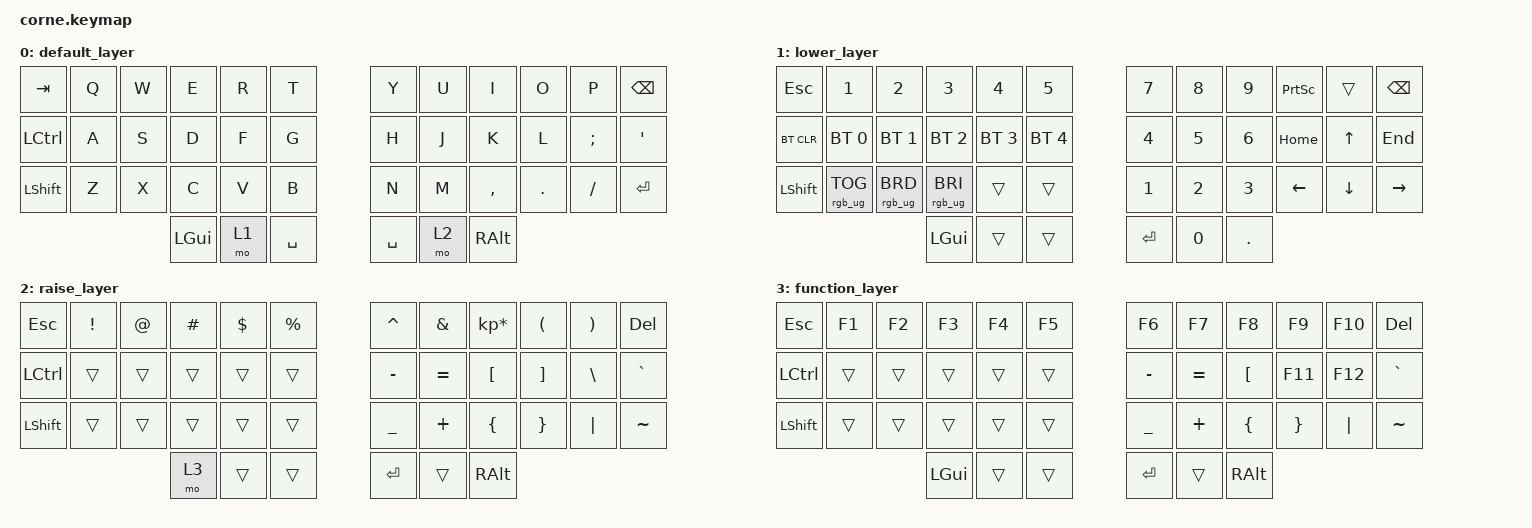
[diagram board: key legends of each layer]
/*
 * Copyright (c) 2020 The ZMK Contributors
 *
 * SPDX-License-Identifier: MIT
 */

#include <behaviors.dtsi>
#include <dt-bindings/zmk/keys.h>
#include <dt-bindings/zmk/bt.h>
#include <dt-bindings/zmk/rgb.h>

/*
 * Temporarily here because nice nano v2 spi is not defined on ZMk Yet
 * Source: https://github.com/zmkfirmware/zmk/blob/main/app/boards/shields/reviung41/boards/nice_nano.overlay
 * GitHub Issue: https://github.com/zmkfirmware/zmk/issues/885
 */

&spi1 {
   compatible = "nordic,nrf-spim";
   status = "okay";
   mosi-pin = <6>;
   // Unused pins, needed for SPI definition, but not used by the ws2812 driver itself.
   sck-pin = <5>;
   miso-pin = <7>;

   led_strip: ws2812@0 {
      compatible = "worldsemi,ws2812-spi";
      label = "WS2812";

      /* SPI */
      reg = <0>; /* ignored, but necessary for SPI bindings */
      spi-max-frequency = <4000000>;

      /* WS2812 */
      chain-length = <27>; /* arbitrary; change at will */
      spi-one-frame = <0x70>;
      spi-zero-frame = <0x40>;
   };
};

/ {
   chosen {
      zmk,underglow = &led_strip;
   };
};

/*
 * Temporarily here because nice nano v2 spi is not defined on ZMk YET
 */

/ {
        keymap {
                compatible = "zmk,keymap";

                default_layer {
// -----------------------------------------------------------------------------------------
// |  TAB |  Q  |  W  |  E  |  R  |  T  |   |  Y  |  U   |  I  |  O  |  P  | BKSP |
// | CTRL |  A  |  S  |  D  |  F  |  G  |   |  H  |  J   |  K  |  L  |  ;  |  '   |
// | SHFT |  Z  |  X  |  C  |  V  |  B  |   |  N  |  M   |  ,  |  .  |  /  | RET  |
//                    | GUI | LWR | SPC |   | SPC | RSE  | ALT |
                        bindings = <
   &kp TAB   &kp Q &kp W &kp E &kp R &kp T   &kp Y &kp U  &kp I     &kp O   &kp P    &kp BSPC
   &kp LCTRL &kp A &kp S &kp D &kp F &kp G   &kp H &kp J  &kp K     &kp L   &kp SEMI &kp SQT
   &kp LSHFT &kp Z &kp X &kp C &kp V &kp B   &kp N &kp M  &kp COMMA &kp DOT &kp FSLH &kp RET
                  &kp LGUI &mo 1 &kp SPACE   &kp SPACE &mo 2 &kp RALT
                        >;
                };
                lower_layer {
// -----------------------------------------------------------------------------------------
// |  ESC |    1    |    2    |    3    |  4  |  5  |   |  7  |  8  |  9  |  0    |     | BKSP |
// | BTCLR|   BT1   |   BT2   |   BT3   | BT4 | BT5 |   |  4  |  5  |  6  |  HOME | UP  | END  |
// | SHFT | RGB_TOG | RGB_BRD | RGB_BRI |     |     |   |  1  |  2  |  3  |  LFT  | DWN | RGT  |
//                                | GUI |     | RALT|   | 0 |     | . |
                        bindings = <
   &kp ESC    &kp N1       &kp N2       &kp N3       &kp N4       &kp N5                 &kp N7   &kp N8    &kp N9  &kp PSCRN    &trans  &kp BSPC
   &bt BT_CLR &bt BT_SEL 0 &bt BT_SEL 1 &bt BT_SEL 2 &bt BT_SEL 3 &bt BT_SEL 4           &kp N4   &kp N5   &kp N6    &kp HOME   &kp UP     &kp END
   &kp LSHFT &rgb_ug RGB_TOG &rgb_ug RGB_BRD &rgb_ug RGB_BRI &trans &trans               &kp N1   &kp N2   &kp N3    &kp LEFT &kp DOWN   &kp RIGHT
                          	        &kp LGUI     &trans       &trans                   &kp RET  &kp N0   &kp DOT
                        >;
                };

                raise_layer {
// -----------------------------------------------------------------------------------------
// | ESC  |  !  |  @  |  #  |  $  |  %  |   |  ^  |  &  |  *  |  (  |  )  | DEL |
// | CTRL |     |     |     |     |     |   |  -  |  =  |  [  |  ]  |  \  |  `   |
// | SHFT |     |     |     |     |     |   |  _  |  +  |  {  |  }  | "|" |  ~   |
//                    | GUI |     | SPC |   | ENT |     | ALT |
                        bindings = <
   &kp  ESC  &kp EXCL &kp AT &kp HASH &kp DLLR &kp PRCNT    &kp CARET &kp AMPS  &kp KP_MULTIPLY &kp LPAR &kp RPAR &kp DEL
   &kp LCTRL &trans   &trans &trans   &trans   &trans       &kp MINUS &kp EQUAL &kp LBKT        &kp RBKT &kp BSLH &kp GRAVE
   &kp LSHFT &trans   &trans &trans   &trans   &trans       &kp UNDER &kp PLUS  &kp LBRC        &kp RBRC &kp PIPE &kp TILDE
                    	     &mo 3 &trans  &trans           &kp RET   &trans    &kp RALT
                        >;
                };
				function_layer {
// -----------------------------------------------------------------------------------------
// | ESC  |  F1 | F2  | F3  | F4  |  F5 |   | F6  |  F7 |  F8 | F9  | F10 | DEL |
// | CTRL |     |     |     |     |     |   |  -  |  =  |  [  | F11 | F11 |  `   |
// | SHFT |     |     |     |     |     |   |  _  |  +  |  {  |  }  | "|" |  ~   |
//                    | GUI |     | SPC |   | ENT |     | ALT |
                        bindings = <
   &kp  ESC  &kp F1   &kp F2 &kp F3   &kp F4  &kp F5        &kp F6    &kp F7    &kp F8      &kp F9 &kp F10 &kp DEL
   &kp LCTRL &trans   &trans &trans   &trans   &trans       &kp MINUS &kp EQUAL &kp LBKT    &kp F11 &kp F12 &kp GRAVE
   &kp LSHFT &trans   &trans &trans   &trans   &trans       &kp UNDER &kp PLUS  &kp LBRC    &kp RBRC &kp PIPE &kp TILDE
                    	     &kp LGUI &trans  &trans           &kp RET   &trans    &kp RALT
                        >;
                };
        };
};
